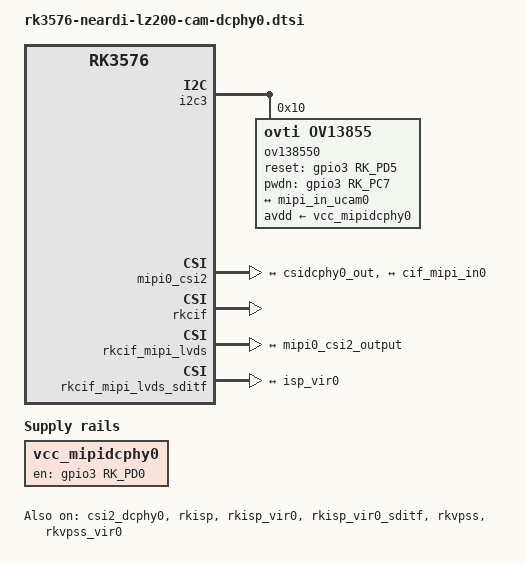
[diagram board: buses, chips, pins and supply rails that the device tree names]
/* neardi lz200 */
/* CAM0_RST GPIO3_D5 */
/* CAM0_PDN GPIO3_C7 */
/* CAM0_EN GPIO3_D0 */
&{/} {
	vcc_mipidcphy0: vcc-mipidcphy0-regulator {
		compatible = "regulator-fixed";
		gpio = <&gpio3 RK_PD0 GPIO_ACTIVE_HIGH>;
		pinctrl-names = "default";
		pinctrl-0 = <&mipidcphy0_pwr>;
		regulator-name = "vcc_mipidcphy0";
		enable-active-high;
		status = "okay";
	};
};
/* sensor0 --> csi2_dcphy0 --> mipi0_csi2 --> rkcif_mipi_lvds */
/* rkcif_mipi_lvds_sditf --> rkisp_vir0 */
&csi2_dcphy0 {
	status = "okay";

	ports {
		#address-cells = <1>;
		#size-cells = <0>;
		port@0 {
			reg = <0>;
			#address-cells = <1>;
			#size-cells = <0>;

			mipi_in_ucam0: endpoint@0 {
				reg = <0>;
				remote-endpoint = <&ov13855_out0>;
				data-lanes = <1 2 3 4>;
			};
		};
		port@1 {
			reg = <1>;
			#address-cells = <1>;
			#size-cells = <0>;

			csidcphy0_out: endpoint@0 {
				reg = <0>;
				remote-endpoint = <&mipi0_csi2_input>;
			};
		};
	};
};

&i2c3 {
	status = "okay";
	pinctrl-0 = <&i2c3m0_xfer>;

    ov138550: ov13855@10 {
        compatible = "ovti,ov13855";
        status = "okay";
        reg = <0x10>;
        clocks = <&cru CLK_MIPI_CAMERAOUT_M0>;
        clock-names = "xvclk";
        power-domains = <&power RK3576_PD_VI>;
        pinctrl-names = "default";
        pinctrl-0 = <&cam_clk0m0_clk0
					 &cam0_rst
					 &cam0_pwdn>;
        rockchip,grf = <&sys_grf>;
        reset-gpios = <&gpio3 RK_PD5 GPIO_ACTIVE_HIGH>;
        pwdn-gpios = <&gpio3 RK_PC7 GPIO_ACTIVE_HIGH>;
        avdd-supply = <&vcc_mipidcphy0>;
        rockchip,camera-module-index = <0>;
        rockchip,camera-module-facing = "back";
        rockchip,camera-module-name = "CMK-OT2016-FV1";
        rockchip,camera-module-lens-name = "default";
        port {
            ov13855_out0: endpoint {
                remote-endpoint = <&mipi_in_ucam0>;
                data-lanes = <1 2 3 4>;
            };
        };
    };
};

&mipi0_csi2 {
	status = "okay";

	ports {
		#address-cells = <1>;
		#size-cells = <0>;

		port@0 {
			reg = <0>;
			#address-cells = <1>;
			#size-cells = <0>;

			mipi0_csi2_input: endpoint@1 {
				reg = <1>;
				remote-endpoint = <&csidcphy0_out>;
			};
		};

		port@1 {
			reg = <1>;
			#address-cells = <1>;
			#size-cells = <0>;

			mipi0_csi2_output: endpoint@0 {
				reg = <0>;
				remote-endpoint = <&cif_mipi_in0>;
			};
		};
	};
};

&rkcif_mmu {
	status = "okay";
};

&rkcif {
	status = "okay";
};

&rkcif_mipi_lvds {
	status = "okay";

	port {
		cif_mipi_in0: endpoint {
			remote-endpoint = <&mipi0_csi2_output>;
		};
	};
};

&rkcif_mipi_lvds_sditf {
	status = "okay";

	port {
		mipi_lvds_sditf: endpoint {
			remote-endpoint = <&isp_vir0>;
		};
	};
};

&rkisp {
	status = "okay";
};

&rkisp_mmu {
	status = "okay";
};

&rkisp_vir0 {
	status = "okay";

	port {
		#address-cells = <1>;
		#size-cells = <0>;

		isp_vir0: endpoint@0 {
			reg = <0>;
			remote-endpoint = <&mipi_lvds_sditf>;
		};
	};
};

&rkisp_vir0_sditf {
	status = "okay";
};

&rkvpss {
	status = "okay";
};

&rkvpss_mmu {
	status = "okay";
};

&rkvpss_vir0 {
	status = "okay";
};

&pinctrl {
	cam0 {
		mipidcphy0_pwr: mipidcphy0-pwr {
			rockchip,pins =
				/* camera power en */
				<3 RK_PD0 RK_FUNC_GPIO &pcfg_pull_none>;
		};

		cam0_rst: cam0_rst {
			rockchip,pins = 
				/* camera reset */
				<3 RK_PD5 RK_FUNC_GPIO &pcfg_pull_none>;
		};

		cam0_pwdn: cam0_pwdn {
			rockchip,pins = 
				/* camera power down */
				<3 RK_PC7 RK_FUNC_GPIO &pcfg_pull_none>;
		};
	};
};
